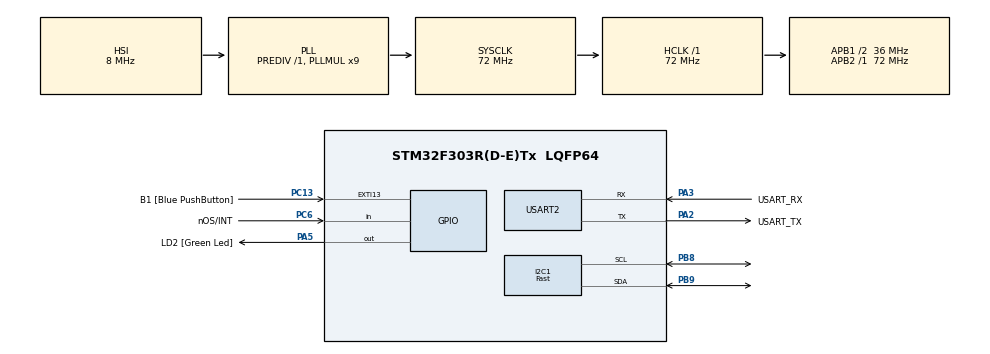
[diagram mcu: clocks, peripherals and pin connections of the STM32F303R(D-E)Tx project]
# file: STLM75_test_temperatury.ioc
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I2C1.I2C_Speed_Mode=I2C_Fast
I2C1.Speed=100
I2C1.Timing=0x20000215
Mcu.Family=STM32F3
Mcu.Name=STM32F303R(D-E)Tx
Mcu.Package=LQFP64
NVIC.PriorityGroup=NVIC_PRIORITYGROUP_0
PA13.GPIO_Label=TMS
PA13.Mode=Serial_Wire
PA13.Signal=SYS_JTMS-SWDIO
PA14.GPIO_Label=TCK
PA14.Mode=Serial_Wire
PA14.Signal=SYS_JTCK-SWCLK
PA2.GPIO_Label=USART_TX
PA2.GPIO_Mode=GPIO_MODE_AF_PP
PA2.GPIO_PuPd=GPIO_NOPULL
PA2.GPIO_Speed=GPIO_SPEED_FREQ_LOW
PA2.Mode=Asynchronous
PA2.Signal=USART2_TX
PA3.GPIO_Label=USART_RX
PA3.GPIO_Mode=GPIO_MODE_AF_PP
PA3.GPIO_PuPd=GPIO_NOPULL
PA3.GPIO_Speed=GPIO_SPEED_FREQ_LOW
PA3.Mode=Asynchronous
PA3.Signal=USART2_RX
PA5.GPIO_Label=LD2 [Green Led]
PA5.GPIO_Mode=GPIO_MODE_OUTPUT_PP
PA5.GPIO_PuPd=GPIO_NOPULL
PA5.GPIO_Speed=GPIO_SPEED_FREQ_LOW
PA5.Signal=GPIO_Output
PB3.GPIO_Label=SWO
PB3.Signal=SYS_JTDO-TRACESWO
PB8.GPIO_FM8=SYSCFG_CFGR1_I2C_PB8_FMP
PB8.Mode=I2C
PB8.Signal=I2C1_SCL
PB9.GPIO_FM9=SYSCFG_CFGR1_I2C_PB9_FMP
PB9.Mode=I2C
PB9.Signal=I2C1_SDA
PC13.GPIO_Label=B1 [Blue PushButton]
PC13.GPIO_ModeDefaultEXTI=GPIO_MODE_IT_FALLING
PC13.Signal=GPXTI13
PC14-OSC32_IN.Mode=LSE-External-Oscillator
PC14-OSC32_IN.Signal=RCC_OSC32_IN
PC15-OSC32_OUT.Mode=LSE-External-Oscillator
PC15-OSC32_OUT.Signal=RCC_OSC32_OUT
PC6.GPIO_Label=nOS/INT
PC6.Signal=GPIO_Input
PF0-OSC_IN.Mode=HSE-External-Clock-Source
PF0-OSC_IN.Signal=RCC_OSC_IN
PF1-OSC_OUT.Signal=RCC_OSC_OUT
ProjectManager.HeapSize=0x200
ProjectManager.StackSize=0x400
ProjectManager.TargetToolchain=STM32CubeIDE
RCC.AHBFreq_Value=72000000
RCC.APB1CLKDivider=RCC_HCLK_DIV2
RCC.APB1Freq_Value=36000000
RCC.APB1TimFreq_Value=72000000
RCC.APB2Freq_Value=72000000
RCC.APB2TimFreq_Value=72000000
RCC.CortexFreq_Value=72000000
RCC.HCLKFreq_Value=72000000
RCC.HSE_VALUE=8000000
RCC.HSI_VALUE=8000000
RCC.PLLM=8
RCC.PLLMUL=RCC_PLL_MUL9
RCC.PLLN=336
RCC.PLLP=RCC_PLLP_DIV4
RCC.PLLQ=7
RCC.RCC_PLLsource_Clock_Source_FROM_HSE=RCC_HSE_PREDIV_DIV2
RCC.SYSCLKFreq_VALUE=72000000
RCC.SYSCLKSourceVirtual=RCC_SYSCLKSOURCE_PLLCLK
RCC.USBFreq_Value=72000000
USART2.VirtualMode-Asynchronous=VM_ASYNC
board=NUCLEO-F303RE

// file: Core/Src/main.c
/* USER CODE BEGIN Header */
/**
  ******************************************************************************
  * @file           : main.c
  * @brief          : Main program body
  ******************************************************************************
  * @attention
  *
  * <h2><center>&copy; Copyright (c) 2022 STMicroelectronics.
  * All rights reserved.</center></h2>
  *
  * This software component is licensed by ST under BSD 3-Clause license,
  * the "License"; You may not use this file except in compliance with the
  * License. You may obtain a copy of the License at:
  *                        opensource.org/licenses/BSD-3-Clause
  *
  ******************************************************************************
  */
/* USER CODE END Header */
#include "main.h"
#include "i2c.h"
#include "usart.h"
#include "gpio.h"

/* USER CODE BEGIN Includes */
#include "stlm75.h"
/* USER CODE END Includes */

/* USER CODE BEGIN PV */
STLM75_t stlm75_0;
STLM75_t stlm75_1;
STLM75_t stlm75_2;
STLM75_t stlm75_3;
STLM75_t stlm75_4;
STLM75_t stlm75_5;
STLM75_t stlm75_6;
STLM75_t stlm75_7;

volatile float temperature[8];

STLM75_t* termometers[8] = { &stlm75_0,
							 &stlm75_1,
							 &stlm75_2,
							 &stlm75_3,
							 &stlm75_4,
							 &stlm75_5,
							 &stlm75_6,
							 &stlm75_7};

/* USER CODE END PV */

void SystemClock_Config(void);

int main(void)
{

  /* MCU Configuration--------------------------------------------------------*/

  /* Reset of all peripherals, Initializes the Flash interface and the Systick. */
  HAL_Init();

  /* Configure the system clock */
  SystemClock_Config();

  /* Initialize all configured peripherals */
  MX_GPIO_Init();
  MX_USART2_UART_Init();
  MX_I2C1_Init();
  /* USER CODE BEGIN 2 */
  STLM75_Init(&stlm75_0, &hi2c1, 0);
  STLM75_Init(&stlm75_1, &hi2c1, 1);
  STLM75_Init(&stlm75_2, &hi2c1, 2);
  STLM75_Init(&stlm75_3, &hi2c1, 3);
  STLM75_Init(&stlm75_4, &hi2c1, 4);
  STLM75_Init(&stlm75_5, &hi2c1, 5);
  STLM75_Init(&stlm75_6, &hi2c1, 6);
  STLM75_Init(&stlm75_7, &hi2c1, 7);

  // settings example
  STLM75_SetTepmerature(&stlm75_0, STLM75_REG_TEMP_OVERLIMIT, 29);
  STLM75_SetTepmerature(&stlm75_0, STLM75_REG_HYSTERESIS, 27);
  STLM75_SetFaultTolerance(&stlm75_0, STLM75_ALARM_FT_6);
  STLM75_SetMode(&stlm75_0, STLM75_MODE_NORMAL);
  /* USER CODE END 2 */

  /* Infinite loop */
  /* USER CODE BEGIN WHILE */
  while (1)
  {
	  /*
	  temperature = ((int)STLM75_Read16(&stlm75_0, STLM75_REG_CONFIGURATION) >>8);
	  */
	  	  for(uint8_t i=0; i<8; i++)
	  	  	  {
	  		  	  temperature[i] = STLM75_ReadTemperature(termometers[i]);
	  		  	  HAL_Delay(100);
	  	  	  }

    /* USER CODE END WHILE */

  }
}

void SystemClock_Config(void)
{
  RCC_OscInitTypeDef RCC_OscInitStruct = {0};
  RCC_ClkInitTypeDef RCC_ClkInitStruct = {0};
  RCC_PeriphCLKInitTypeDef PeriphClkInit = {0};

  /** Initializes the RCC Oscillators according to the specified parameters
  * in the RCC_OscInitTypeDef structure.
  */
  RCC_OscInitStruct.OscillatorType = RCC_OSCILLATORTYPE_HSI;
  RCC_OscInitStruct.HSIState = RCC_HSI_ON;
  RCC_OscInitStruct.HSICalibrationValue = RCC_HSICALIBRATION_DEFAULT;
  RCC_OscInitStruct.PLL.PLLState = RCC_PLL_ON;
  RCC_OscInitStruct.PLL.PLLSource = RCC_PLLSOURCE_HSI;
  RCC_OscInitStruct.PLL.PLLMUL = RCC_PLL_MUL9;
  RCC_OscInitStruct.PLL.PREDIV = RCC_PREDIV_DIV1;
  if (HAL_RCC_OscConfig(&RCC_OscInitStruct) != HAL_OK)
  {
    Error_Handler();
  }
  /** Initializes the CPU, AHB and APB buses clocks
  */
  RCC_ClkInitStruct.ClockType = RCC_CLOCKTYPE_HCLK|RCC_CLOCKTYPE_SYSCLK
                              |RCC_CLOCKTYPE_PCLK1|RCC_CLOCKTYPE_PCLK2;
  RCC_ClkInitStruct.SYSCLKSource = RCC_SYSCLKSOURCE_PLLCLK;
  RCC_ClkInitStruct.AHBCLKDivider = RCC_SYSCLK_DIV1;
  RCC_ClkInitStruct.APB1CLKDivider = RCC_HCLK_DIV2;
  RCC_ClkInitStruct.APB2CLKDivider = RCC_HCLK_DIV1;

  if (HAL_RCC_ClockConfig(&RCC_ClkInitStruct, FLASH_LATENCY_2) != HAL_OK)
  {
    Error_Handler();
  }
  PeriphClkInit.PeriphClockSelection = RCC_PERIPHCLK_USART2|RCC_PERIPHCLK_I2C1;
  PeriphClkInit.Usart2ClockSelection = RCC_USART2CLKSOURCE_PCLK1;
  PeriphClkInit.I2c1ClockSelection = RCC_I2C1CLKSOURCE_HSI;
  if (HAL_RCCEx_PeriphCLKConfig(&PeriphClkInit) != HAL_OK)
  {
    Error_Handler();
  }
}

void Error_Handler(void)
{
  __disable_irq();
  while (1)
  {
  }
}

/************************ (C) COPYRIGHT STMicroelectronics *****END OF FILE****/
